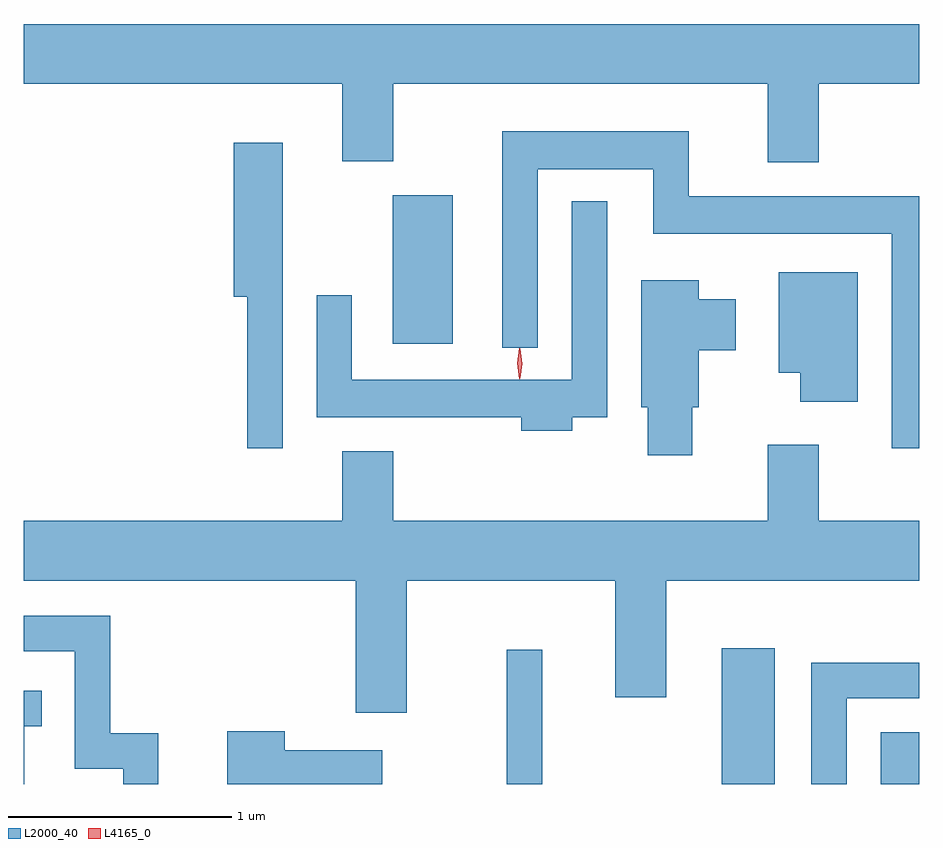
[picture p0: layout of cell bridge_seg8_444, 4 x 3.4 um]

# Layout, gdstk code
import gdstk
lib = gdstk.Library(unit=1e-6, precision=1e-09)
def R(c, l, rs):  # rectangles x0, y0, x1, y1
    for r in rs: c.add(gdstk.rectangle(r[:2], r[2:], *l))
def P(c, l, *ps):  # polygons
    for p in ps: c.add(gdstk.Polygon(p, *l))
L2000_40 = (2000, 40)
L4165_0 = (4165, 0)

bridge_seg8_444 = lib.new_cell('bridge_seg8_444')
R(bridge_seg8_444, L2000_40, [(522.876,1928.748,523.034,1929.348), (523.836,1928.748,524.074,1929.354), (524.546,1928.748,524.718,1928.979), (522.366,1930.716,522.634,1931.379)])
P(bridge_seg8_444, L2000_40, [(524.269,1931.876),(524.718,1931.876),(524.718,1932.144),(520.718,1932.144),(520.718,1931.876),(522.141,1931.876),(522.141,1931.531),(522.369,1931.531),(522.369,1931.876),(524.041,1931.876),(524.041,1931.526),(524.269,1931.526)],
  [(524.718,1931.374),(523.689,1931.374),(523.689,1931.664),(522.856,1931.664),(522.856,1930.698),(523.014,1930.698),(523.014,1931.496),(523.531,1931.496),(523.531,1931.206),(524.596,1931.206),(524.596,1930.248),(524.718,1930.248)],
  [(521.874,1931.614),(521.656,1931.614),(521.656,1930.926),(521.716,1930.926),(521.716,1930.248),(521.874,1930.248)],
  [(523.169,1930.386),(523.324,1930.386),(523.324,1931.353),(523.166,1931.353),(523.166,1930.554),(522.184,1930.554),(522.184,1930.933),(522.026,1930.933),(522.026,1930.386),(522.941,1930.386),(522.941,1930.326),(523.169,1930.326)],
  [(524.444,1931.034),(524.091,1931.034),(524.091,1930.586),(524.186,1930.586),(524.186,1930.456),(524.444,1930.456)],
  [(523.704,1930.431),(523.734,1930.431),(523.734,1930.686),(523.899,1930.686),(523.899,1930.914),(523.734,1930.914),(523.734,1930.999),(523.476,1930.999),(523.476,1930.431),(523.506,1930.431),(523.506,1930.216),(523.704,1930.216)],
  [(522.429,1929.656),(523.361,1929.656),(523.361,1929.136),(523.589,1929.136),(523.589,1929.656),(524.718,1929.656),(524.718,1929.924),(524.269,1929.924),(524.269,1930.264),(524.041,1930.264),(524.041,1929.924),(522.369,1929.924),(522.369,1930.234),(522.141,1930.234),(522.141,1929.924),(520.718,1929.924),(520.718,1929.656),(522.201,1929.656),(522.201,1929.066),(522.429,1929.066)],
  [(521.319,1928.974),(521.104,1928.974),(521.104,1929.499),(520.718,1929.499),(520.718,1929.341),(520.946,1929.341),(520.946,1928.816),(521.161,1928.816),(521.161,1928.748),(521.319,1928.748)],
  [(524.394,1929.131),(524.718,1929.131),(524.718,1929.289),(524.236,1929.289),(524.236,1928.748),(524.394,1928.748)],
  [(520.719,1929.006),(520.798,1929.006),(520.798,1929.164),(520.718,1929.164),(520.718,1928.748),(520.719,1928.748)],
  [(522.319,1928.899),(521.884,1928.899),(521.884,1928.984),(521.626,1928.984),(521.626,1928.748),(522.319,1928.748)])
P(bridge_seg8_444, L4165_0, [(522.933,1930.557),(522.932,1930.558),(522.923,1930.627),(522.932,1930.696),(522.933,1930.696),(522.933,1930.696),(522.943,1930.627),(522.933,1930.558)],
  [(522.934,1930.559),(522.934,1930.56),(522.924,1930.626),(522.934,1930.692),(522.934,1930.693),(522.935,1930.692),(522.944,1930.626),(522.935,1930.56)])

lib.write_gds('bridge_seg8_444.gds')
